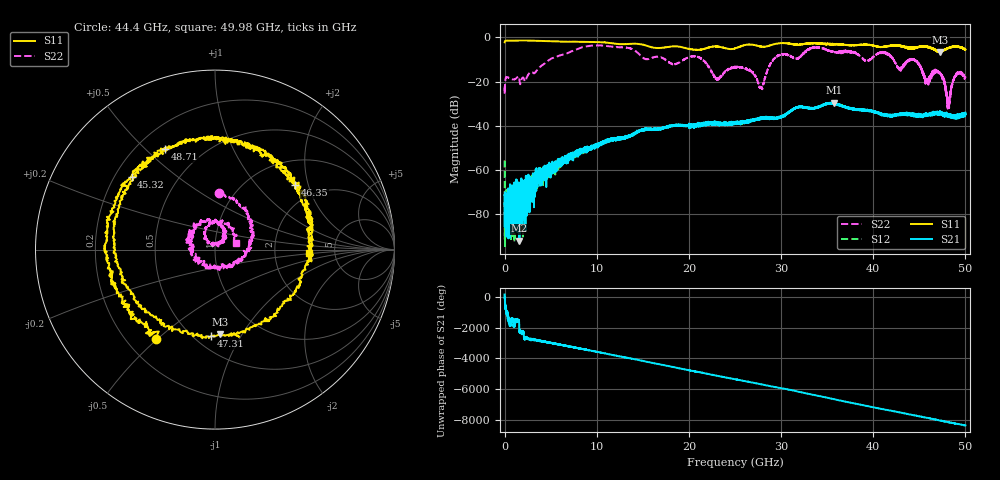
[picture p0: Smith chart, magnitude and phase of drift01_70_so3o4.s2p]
!Created with skrf (http://scikit-rf.org).
# Hz S RI R 50.0
!freq ReS11 ImS11 ReS21 ImS21 ReS12 ImS12 ReS22 ImS22
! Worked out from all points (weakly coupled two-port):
!   10001 points, 300 kHz to 50 GHz, reference 50 ohm
!   highest |S21| = -29.49 dB at 35.76 GHz (marker M1); lowest = -92.1 dB at 1.605 GHz (marker M2)
!   lowest |S11| = -6.5 dB at 47.28 GHz (marker M3), VSWR 2.79, Z = 33.4 - j40.5 ohm
!   |S11| at or under -10 dB: nowhere
!   |S22| runs from -32.4 to -3.6 dB; largest |S21 - S12| = 0.0039
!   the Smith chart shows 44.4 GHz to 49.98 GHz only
!   S11 on the Smith chart (normalised r, x): 44.4 GHz: 0.32, -0.49; 45.32 GHz: 0.27, +0.35; 46.35 GHz: 1.55, +1.66; 47.31 GHz: 0.60, -0.75; 48.71 GHz: 0.31, +0.57; 49.98 GHz: 3.20, -0.19
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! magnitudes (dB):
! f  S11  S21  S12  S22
! 300 kHz  -2.1  -71.3  -55.7  -22.2
! 255.3 MHz  -1.4  -78.0  -84.5  -18.0
! 1.605 GHz  -1.4  -92.1  -84.5  -19.3
! 8.335 GHz  -1.9  -52.2  -51.0  -4.5
! 16.67 GHz  -4.8  -41.4  -41.3  -8.7
! 20.97 GHz  -5.6  -39.9  -40.2  -8.8
! 23.09 GHz  -4.1  -39.3  -38.6  -18.8
! 25 GHz  -5.0  -39.1  -38.6  -13.5
! 27.86 GHz  -4.2  -36.5  -36.5  -23.1
! 29.45 GHz  -2.9  -36.6  -36.6  -8.9
! 33.34 GHz  -2.6  -31.9  -32.0  -4.8
! 35.76 GHz  -3.0  -29.5  -29.9  -6.5
! 41.67 GHz  -3.9  -35.2  -35.5  -8.0
! 44.4 GHz  -4.5  -34.4  -35.1  -10.0
! 45.32 GHz  -4.2  -35.0  -35.8  -15.6
! 46.35 GHz  -4.8  -34.5  -34.3  -16.2
! 47.28 GHz  -6.5  -34.7  -34.4  -16.4
! 47.31 GHz  -6.3  -34.2  -34.4  -16.7
! 48.16 GHz  -4.7  -35.0  -34.8  -29.0
! 48.71 GHz  -4.1  -36.4  -35.8  -19.0
! 49.98 GHz  -5.6  -34.6  -34.7  -18.1
! 50 GHz  -5.5  -34.1  -34.9  -18.2
